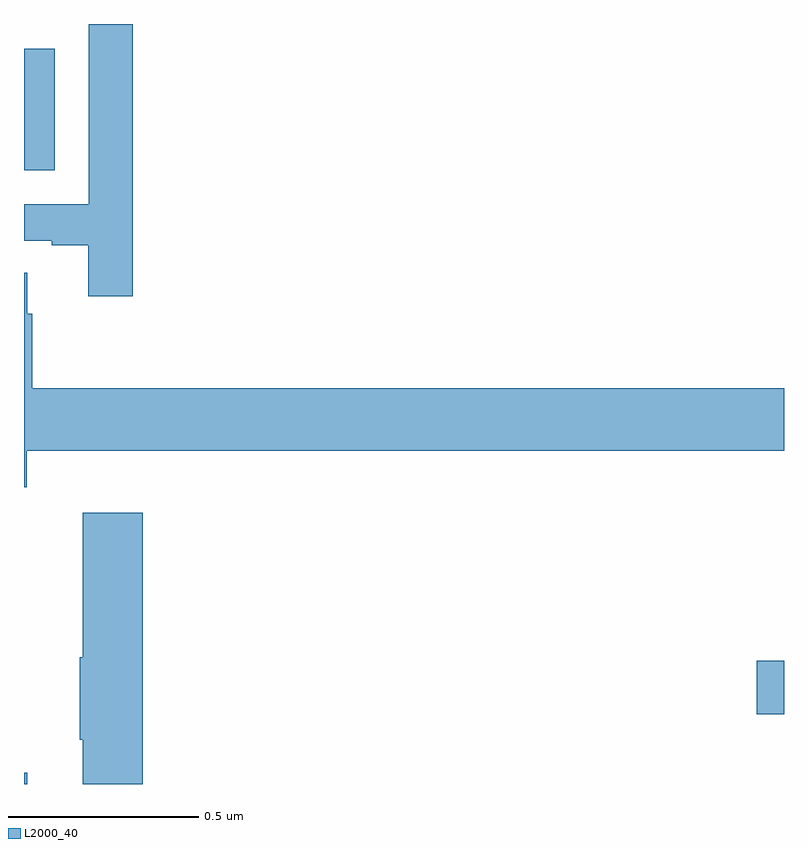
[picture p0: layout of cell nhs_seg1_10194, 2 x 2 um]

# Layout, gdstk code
import gdstk
lib = gdstk.Library(unit=1e-6, precision=1e-09)
def R(c, l, rs):  # rectangles x0, y0, x1, y1
    for r in rs: c.add(gdstk.rectangle(r[:2], r[2:], *l))
def P(c, l, *ps):  # polygons
    for p in ps: c.add(gdstk.Polygon(p, *l))
L2000_40 = (2000, 40)

nhs_seg1_10194 = lib.new_cell('nhs_seg1_10194')
R(nhs_seg1_10194, L2000_40, [(238,540.199,238.009,540.229), (239.928,540.382,240,540.524), (238,541.814,238.081,542.134)])
P(nhs_seg1_10194, L2000_40, [(238.286,542.199),(238.17,542.199),(238.17,541.725),(238,541.725),(238,541.629),(238.073,541.629),(238.073,541.617),(238.169,541.617),(238.169,541.482),(238.286,541.482)],
  [(238.007,541.076),(240,541.076),(240,541.24),(238.022,541.24),(238.022,541.436),(238.009,541.436),(238.009,541.544),(238,541.544),(238,540.98),(238.007,540.98)],
  [(238.313,540.913),(238.154,540.913),(238.154,540.533),(238.147,540.533),(238.147,540.316),(238.154,540.316),(238.154,540.199),(238.313,540.199)])

lib.write_gds('nhs_seg1_10194.gds')
